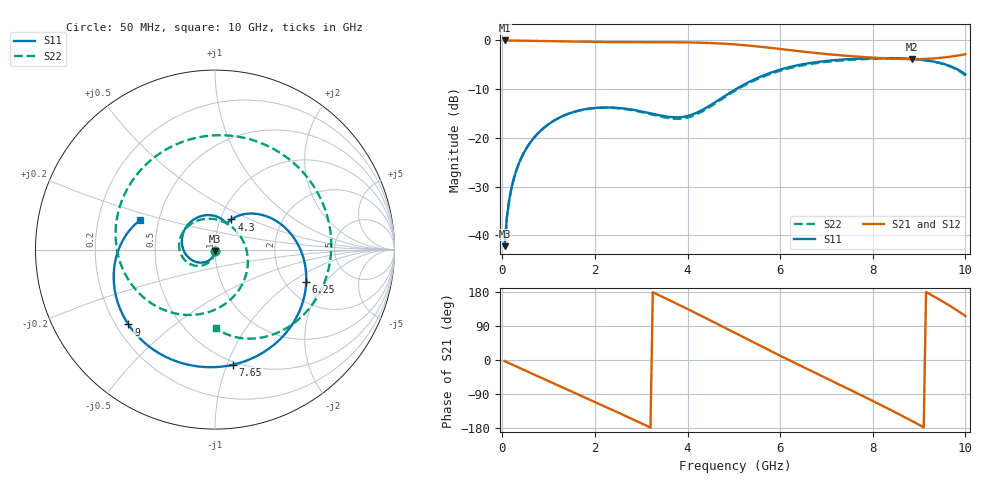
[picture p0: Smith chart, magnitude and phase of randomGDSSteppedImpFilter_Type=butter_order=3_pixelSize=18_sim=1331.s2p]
! freq	dB(S11)	phase(S11)	dB(S12)	phase(S12)
!  dB(S21)	phase(S21)	dB(S22)	phase(S22)
!S-par simulation data
#  GHz  S  DB  R 50
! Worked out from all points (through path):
!   200 points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, 50 MHz to 10 GHz, reference 50 ohm
!   highest |S21| = 0.00 dB at 50 MHz (marker M1); lowest = -3.8 dB at 8.85 GHz (marker M2)
!   group delay of S21, straight-line fit = 166 ps
!   lowest |S11| = -42.2 dB at 50 MHz (marker M3), VSWR 1.02, Z = 50 - j0.773 ohm
!   |S11| at or under -10 dB: start of sweep to 5.042 GHz
!   |S22| runs from -42.2 to -3.7 dB; largest |S21 - S12| = 0
!   S11 on the Smith chart (normalised r, x): 50 MHz: 1.00, -0.02; 4.3 GHz: 1.13, +0.39; 6.25 GHz: 2.58, -1.32; 7.65 GHz: 0.48, -1.05; 9 GHz: 0.25, -0.35; 10 GHz: 0.39, +0.16
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0.05  -42.22 -92.8  -0.00 -2.8  -0.00 -2.8  -42.21 -92.0
0.1  -36.21 -96.2  -0.01 -5.7  -0.01 -5.7  -36.19 -94.7
0.2  -30.22 -102.7  -0.02 -11.3  -0.02 -11.3  -30.21 -99.8
0.5  -22.48 -122.1  -0.06 -28.0  -0.06 -28.0  -22.47 -114.6
1.15  -16.26 -163.4  -0.18 -64.1  -0.18 -64.1  -16.26 -146.5
1.75  -14.19 159.6  -0.28 -97.1  -0.28 -97.1  -14.21 -175.6
2.65  -13.99 107.3  -0.35 -147.0  -0.35 -147.0  -14.08 137.0
3.4  -15.37 74.9  -0.36 170.1  -0.36 170.1  -15.59 83.8
3.85  -15.75 66.3  -0.39 143.5  -0.39 143.5  -16.06 38.9
4.3  -14.36 61.4  -0.47 116.3  -0.47 116.3  -14.66 -11.0
4.65  -12.34 53.2  -0.60 94.7  -0.60 94.7  -12.60 -45.9
5.05  -9.96 38.1  -0.83 69.9  -0.83 69.9  -10.19 -80.2
5.65  -7.14 9.7  -1.37 32.7  -1.37 32.7  -7.36 -125.5
6.25  -5.35 -19.7  -2.03 -3.7  -2.03 -3.7  -5.58 -168.4
6.7  -4.55 -40.6  -2.51 -30.4  -2.51 -30.4  -4.77 159.3
7.25  -3.98 -64.5  -3.01 -63.0  -3.01 -63.0  -4.17 118.5
7.65  -3.76 -81.0  -3.31 -86.9  -3.31 -86.9  -3.90 87.6
8.35  -3.63 -109.7  -3.71 -129.6  -3.71 -129.6  -3.69 32.4
8.85  -3.79 -131.9  -3.83 -161.1  -3.83 -161.1  -3.82 -6.3
9  -3.91 -139.2  -3.82 -170.8  -3.82 -170.8  -3.94 -17.6
9.5  -4.73 -166.7  -3.54 155.2  -3.54 155.2  -4.78 -54.3
10  -6.99 158.2  -2.83 116.0  -2.83 116.0  -7.17 -89.1
